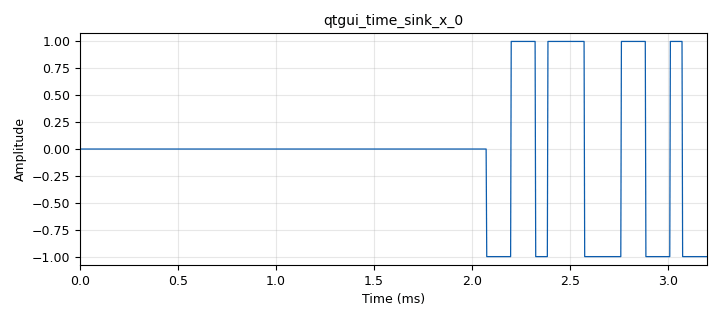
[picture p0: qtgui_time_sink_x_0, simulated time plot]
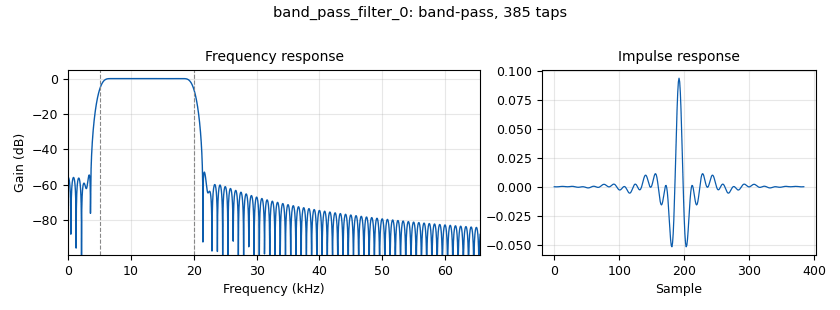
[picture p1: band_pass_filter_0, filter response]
options:
  parameters:
    author: sennels
    generate_options: qt_gui
    id: Actual_intheair
    output_language: python
    title: Not titled yet
  states: {}

blocks:
- name: samp_rate
  id: variable
  parameters:
    value: 80e3*4
  states: {}
- name: band_pass_filter_0
  id: band_pass_filter
  parameters:
    decim: '1'
    gain: '1'
    high_cutoff_freq: 20e3
    low_cutoff_freq: 5e3
    samp_rate: samp_rate
    type: fir_filter_ccf
    width: 2e3
    win: window.WIN_HAMMING
  states: {}
- name: blocks_message_debug_0
  id: blocks_message_debug
  parameters: {}
  states: {}
- name: blocks_probe_rate_0
  id: blocks_probe_rate
  parameters:
    alpha: '0.15'
    mintime: '500.0'
    type: float
  states: {}
- name: blocks_vco_c_0
  id: blocks_vco_c
  parameters:
    amplitude: '1'
    samp_rate: samp_rate
    sensitivity: 10e3*6.28
  states: {}
- name: epy_block_0
  id: epy_block
  parameters:
    _source_code: "\"\"\"\nEmbedded Python Blocks:\n\nEach time this file is saved, GRC will instantiate the first class it finds\nto get ports and parameters of your block. The arguments to __init__  will\nbe the parameters. All of them are required to have default values!\n\"\"\"\n\nimport numpy as np\nfrom gnuradio import gr\n\n\n\n\n######################################################\n# RØV LANG OG TRÆLS KODE FOR AT LAVE NOGLE GOLDCODES # \n######################################################\n\n\ndef lfsr_sequence(poly, seed, n):\n    \"\"\"Generate an m-sequence using given feedback polynomial (as taps).\"\"\"\n    state = seed.copy()\n    seq = np.zeros(2**n - 1, dtype=int)\n    for i in range(len(seq)):\n        seq[i] = state[-1]\n        feedback = np.mod(np.sum(state[np.array(poly) - 1]), 2)\n        state[1:] = state[:-1]\n        state[0] = feedback\n    return seq\n\ndef gold_codes(n, poly1, poly2, seed):\n    \"\"\"Generate Gold code family for degree n LFSRs with given feedback taps.\"\"\"\n    s1 = lfsr_sequence(poly1, seed.copy(), n)\n    s2 = lfsr_sequence(poly2, seed.copy(), n)\n    N = len(s1)\n    codes = []\n\n    for shift in range(N):\n        s2_shift = np.roll(s2, shift)\n        codes.append(np.bitwise_xor(s1, s2_shift))\n    # Add original sequences too\n    codes.append(s1)\n    codes.append(s2)\n    return np.array(codes)\n\n\ndef auto_generate(my_id):\n    \"\"\"Generate codes using predefined settings\"\"\"\n    n = 5\n    poly1 = [5, 2]          # x^5 + x^2 + 1\n    poly2 = [5, 4, 3, 2]    # x^5 + x^4 + x^3 + x^2 + 1\n    seed = np.array([1, 0, 0, 0, 1])\n\n    codes = gold_codes(n, poly1, poly2, seed)\n    return np.float32(codes[my_id])\n\n\n\n\n\n\n\n\n\n\n\n\n\n\n\n\n\n\n\nclass blk(gr.sync_block):  # other base classes are basic_block, decim_block, interp_block\n    \"\"\"Embedded Python Block example - a simple multiply const\"\"\"\n\n    def __init__(self, burst_period=1000,bursts = 4, gold_code=1, sps=3, minislot_delay=50):  # only default arguments here\n        \"\"\"arguments to this function show up as parameters in GRC\"\"\"\n        gr.sync_block.__init__(\n            self,\n            name='Jydesnak BEACONIZER',   # will show up in GRC\n            out_sig=[np.float32],\n            in_sig=None\n        )\n        # if an attribute with the same name as a parameter is found,\n        # a callback is registered (properties work, too).\n        self.gold_code_index = gold_code\n        self.sps = sps\n        self.bursts = bursts\n        self.global_sample_index = 0\n        self.i_code = 0\n        self.transmitting = False\n        self.transmit_index = 0\n        self.mycode = np.subtract(np.repeat(auto_generate(gold_code), self.sps) * 2 , 1)\n        self.vectorlength = len(self.mycode)\n        \n        ##How big a minislot should be\n        self.minislot = int(self.vectorlength/4)\n        self.burst_period = burst_period*self.minislot\n        self.minislot_delay = minislot_delay\n        self.mycode = np.concatenate([self.mycode, np.zeros(self.minislot*minislot_delay)]) ##Genererer vores SCHLONG vektor der kan bruges med minislot spacing\n        self.vectorlength_w_padding = len(self.mycode)\n\n\n\n        print(f\"vectorlength (samples): {self.vectorlength}\")\n        print(f\"[Beaconizer]: minislot: {self.minislot}, \\t burst period: {self.burst_period}\")\n\n    def work(self, input_items, output_items):\n        out = output_items[0]\n        n = len(out)\n\n        for i_sample in range(n):\n            pos_in_period = (self.global_sample_index + i_sample) % self.burst_period\n\n            if pos_in_period < self.vectorlength_w_padding * self.bursts:\n                if(pos_in_period < self.vectorlength_w_padding *2):\n                    out[i_sample] = self.mycode[pos_in_period % self.vectorlength_w_padding] # vector at start\n                else:\n                    out[i_sample] = self.mycode[pos_in_period % self.vectorlength_w_padding] * -1  # vector at start\n            else:\n                out[i_sample] = 0  # zero padding until end of period\n\n        self.global_sample_index = (self.global_sample_index + n) % self.burst_period\n        return n\n\n\n"
    burst_period: '400'
    bursts: '4'
    gold_code: '1'
    minislot_delay: '40'
    sps: '20'
  states: {}
- name: qtgui_time_sink_x_0
  id: qtgui_time_sink_x
  parameters:
    size: '1024'
    srate: samp_rate
    type: float
  states: {}
- name: uhd_usrp_sink_0
  id: uhd_usrp_sink
  parameters:
    ant0: '"TX/RX"'
    center_freq0: int(2.49e9)
    gain0: '1'
    gain_type0: normalized
    samp_rate: samp_rate
    sync: sync
    type: fc32
  states: {}

connections:
- [band_pass_filter_0, '0', uhd_usrp_sink_0, '0']
- [blocks_probe_rate_0, rate, blocks_message_debug_0, print]
- [blocks_vco_c_0, '0', band_pass_filter_0, '0']
- [epy_block_0, '0', blocks_probe_rate_0, '0']
- [epy_block_0, '0', blocks_vco_c_0, '0']
- [epy_block_0, '0', qtgui_time_sink_x_0, '0']

metadata:
  file_format: 1
  grc_version: 3.10.9.2
